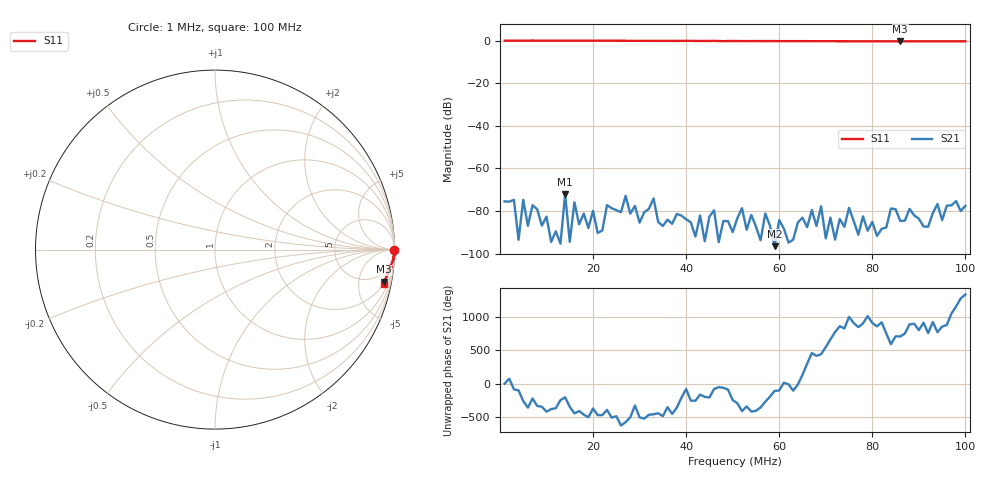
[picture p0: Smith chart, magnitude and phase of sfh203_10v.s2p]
# HZ S RI R 50
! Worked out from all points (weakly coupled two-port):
!   100 points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, 1 MHz to 100 MHz, reference 50 ohm
!   highest |S21| = -72.12 dB at 14 MHz (marker M1); lowest = -96.5 dB at 59 MHz (marker M2)
!   lowest |S11| = -0.4 dB at 86 MHz (marker M3), VSWR 45.00, Z = 120 - j504 ohm
!   |S11| at or under -10 dB: nowhere
!   S12 and S22 are empty: the file has one direction only
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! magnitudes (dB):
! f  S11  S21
! 1 MHz  0.0  -75.5
! 3 MHz  0.0  -74.8
! 4 MHz  0.0  -93.5
! 5 MHz  0.0  -74.7
! 6 MHz  0.0  -86.9
! 13 MHz  0.0  -95.3
! 14 MHz  0.0  -72.1
! 15 MHz  0.0  -94.4
! 16 MHz  0.0  -75.9
! 18 MHz  0.0  -81.2
! 26 MHz  -0.1  -80.6
! 27 MHz  -0.1  -72.8
! 28 MHz  -0.1  -81.2
! 32 MHz  -0.1  -78.9
! 33 MHz  -0.1  -74.0
! 34 MHz  -0.1  -85.1
! 51 MHz  -0.2  -83.4
! 59 MHz  -0.2  -96.5
! 67 MHz  -0.3  -79.5
! 84 MHz  -0.3  -78.8
! 86 MHz  -0.4  -84.6
! 100 MHz  -0.4  -77.5
